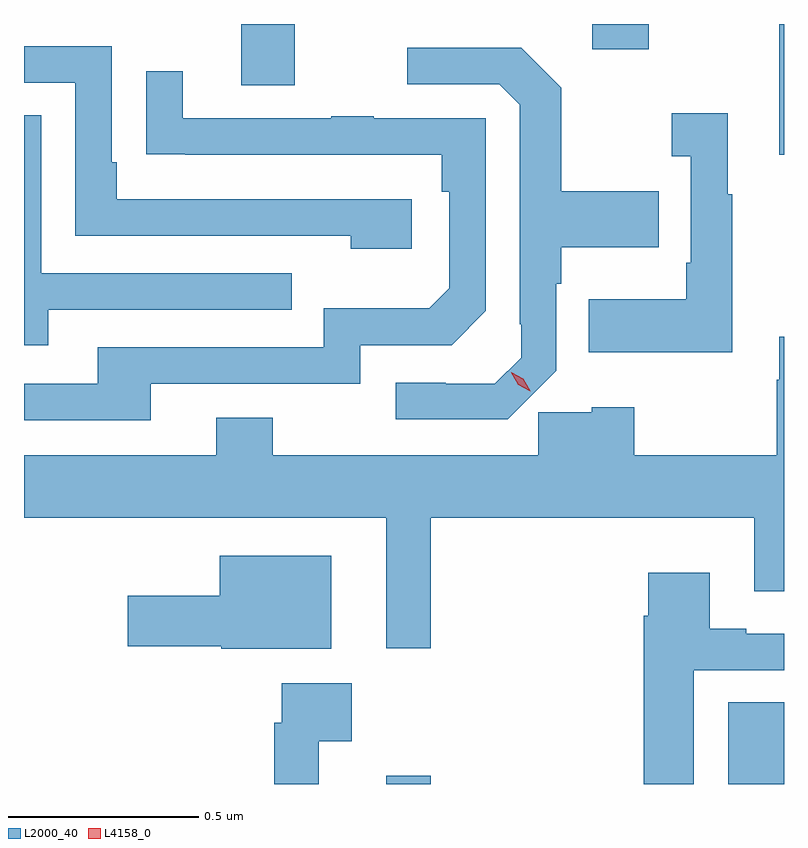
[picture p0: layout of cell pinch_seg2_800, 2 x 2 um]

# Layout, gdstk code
import gdstk
lib = gdstk.Library(unit=1e-6, precision=1e-09)
def R(c, l, rs):  # rectangles x0, y0, x1, y1
    for r in rs: c.add(gdstk.rectangle(r[:2], r[2:], *l))
def P(c, l, *ps):  # polygons
    for p in ps: c.add(gdstk.Polygon(p, *l))
L2000_40 = (2000, 40)
L4158_0 = (4158, 0)

pinch_seg2_800 = lib.new_cell('pinch_seg2_800')
R(pinch_seg2_800, L2000_40, [(734.114,626.955,734.231,626.977), (735.014,626.955,735.161,627.17), (735.149,628.611,735.161,628.955), (733.733,628.794,733.873,628.955), (734.657,628.889,734.805,628.955)])
P(pinch_seg2_800, L2000_40, [(734.182,628.494),(733.405,628.494),(733.405,628.591),(733.392,628.591),(733.392,628.896),(733.161,628.896),(733.161,628.8),(733.296,628.8),(733.296,628.398),(734.021,628.398),(734.021,628.364),(734.182,628.364)],
  [(734.562,628.043),(734.562,628.271),(734.575,628.271),(734.575,628.367),(734.831,628.367),(734.831,628.515),(734.575,628.515),(734.575,628.787),(734.469,628.893),(734.169,628.893),(734.169,628.797),(734.412,628.797),(734.466,628.743),(734.466,628.165),(734.47,628.165),(734.47,628.077),(734.4,628.008),(734.271,628.008),(734.271,628.011),(734.139,628.011),(734.139,627.915),(734.434,627.915)],
  [(733.495,628.008),(734.046,628.008),(734.046,628.11),(734.286,628.11),(734.376,628.2),(734.376,628.707),(734.081,628.707),(734.081,628.712),(733.969,628.712),(733.969,628.707),(733.579,628.707),(733.579,628.831),(733.483,628.831),(733.483,628.612),(733.585,628.612),(733.585,628.611),(734.26,628.611),(734.26,628.514),(734.28,628.514),(734.28,628.26),(734.227,628.207),(733.95,628.207),(733.95,628.104),(733.355,628.104),(733.355,628.008),(733.161,628.008),(733.161,627.912),(733.495,627.912)],
  [(735.025,628.507),(735.013,628.507),(735.013,628.72),(734.865,628.72),(734.865,628.607),(734.916,628.607),(734.916,628.327),(734.904,628.327),(734.904,628.231),(734.647,628.231),(734.647,628.091),(735.025,628.091)],
  [(733.225,628.203),(733.865,628.203),(733.865,628.299),(733.206,628.299),(733.206,628.715),(733.161,628.715),(733.161,628.109),(733.225,628.109)],
  [(734.231,627.656),(735.083,627.656),(735.083,627.462),(735.161,627.462),(735.161,628.132),(735.149,628.132),(735.149,628.019),(735.142,628.019),(735.142,627.82),(734.767,627.82),(734.767,627.947),(734.655,627.947),(734.655,627.933),(734.514,627.933),(734.514,627.82),(733.815,627.82),(733.815,627.919),(733.667,627.919),(733.667,627.82),(733.161,627.82),(733.161,627.656),(734.114,627.656),(734.114,627.312),(734.231,627.312)],
  [(733.969,627.556),(733.676,627.556),(733.676,627.451),(733.434,627.451),(733.434,627.317),(733.68,627.317),(733.68,627.311),(733.969,627.311)],
  [(734.923,627.255),(735.161,627.255),(735.161,627.351),(735.061,627.351),(735.061,627.364),(734.965,627.364),(734.965,627.511),(734.804,627.511),(734.804,627.398),(734.792,627.398),(734.792,626.955),(734.923,626.955)],
  [(733.937,627.068),(734.023,627.068),(734.023,627.22),(733.839,627.22),(733.839,627.116),(733.819,627.116),(733.819,626.955),(733.937,626.955)])
P(pinch_seg2_800, L4158_0, [(734.493,627.989),(734.461,628.006),(734.443,628.037),(734.443,628.038),(734.443,628.038),(734.475,628.021),(734.493,627.99),(734.493,627.989)])

lib.write_gds('pinch_seg2_800.gds')
